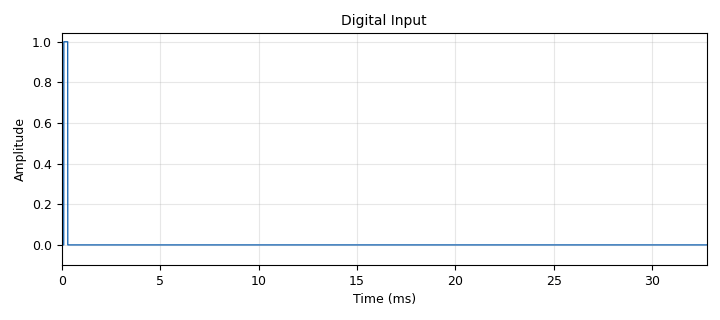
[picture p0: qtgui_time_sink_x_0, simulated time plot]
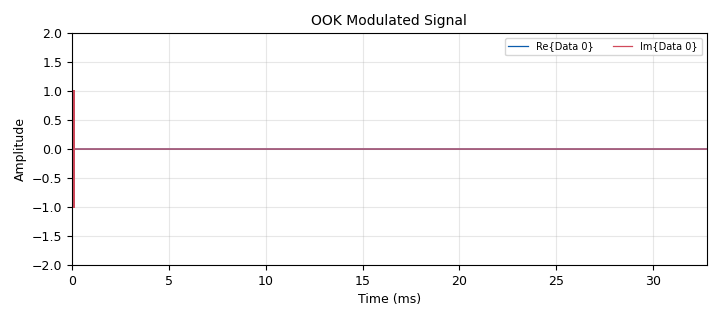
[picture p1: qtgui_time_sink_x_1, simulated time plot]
<?xml version='1.0' encoding='utf-8'?>
<?grc format='1' created='3.7.11'?>
<flow_graph>
<block>
<key>options</key>
<param><key>id</key><value>top_block</value></param>
<param><key>category</key><value>Custom</value></param>
<param><key>generate_options</key><value>qt_gui</value></param>
</block>
<block>
<key>variable</key>
<param><key>id</key><value>center_freq</value></param>
<param><key>value</key><value>913e6</value></param>
</block>
<block>
<key>variable_qtgui_entry</key>
<param><key>id</key><value>freq</value></param>
<param><key>value</key><value>912.5e6</value></param>
<param><key>type</key><value>real</value></param>
</block>
<block>
<key>variable</key>
<param><key>id</key><value>freq_corr</value></param>
<param><key>value</key><value>-2.43e6</value></param>
</block>
<block>
<key>variable</key>
<param><key>id</key><value>freq_corr_ppm</value></param>
<param><key>value</key><value>(0/912.5e6)*1e6</value></param>
</block>
<block>
<key>variable</key>
<param><key>id</key><value>gain</value></param>
<param><key>value</key><value>1e-0</value></param>
</block>
<block>
<key>variable</key>
<param><key>id</key><value>input_addr</value></param>
<param><key>value</key><value>"tcp://127.0.0.1:5555"</value></param>
</block>
<block>
<key>variable</key>
<param><key>id</key><value>samp_rate</value></param>
<param><key>value</key><value>2e6</value></param>
</block>
<block>
<key>variable</key>
<param><key>id</key><value>sps</value></param>
<param><key>value</key><value>int(samp_rate/symbol_rate)</value></param>
</block>
<block>
<key>variable</key>
<param><key>id</key><value>symbol_rate</value></param>
<param><key>value</key><value>1/symbol_time</value></param>
</block>
<block>
<key>variable</key>
<param><key>id</key><value>symbol_time</value></param>
<param><key>value</key><value>100e-6</value></param>
</block>
<block>
<key>variable</key>
<param><key>id</key><value>tcp_addr_test</value></param>
<param><key>value</key><value>"tcp://127.0.0.1:5557"</value></param>
</block>
<block>
<key>variable</key>
<param><key>id</key><value>tcp_addr_test</value></param>
<param><key>_enabled</key><value>0</value></param>
<param><key>value</key><value>"tcp://127.0.0.1:5561"</value></param>
</block>
<block>
<key>analog_const_source_x</key>
<param><key>id</key><value>analog_const_source_x_0</value></param>
<param><key>const</key><value>0</value></param>
<param><key>type</key><value>float</value></param>
</block>
<block>
<key>analog_sig_source_x</key>
<param><key>id</key><value>analog_sig_source_x_0</value></param>
<param><key>amp</key><value>gain</value></param>
<param><key>freq</key><value>freq-center_freq</value></param>
<param><key>offset</key><value>0</value></param>
<param><key>type</key><value>complex</value></param>
<param><key>samp_rate</key><value>samp_rate</value></param>
<param><key>waveform</key><value>analog.GR_COS_WAVE</value></param>
</block>
<block>
<key>blocks_float_to_complex</key>
<param><key>id</key><value>blocks_float_to_complex_0</value></param>
</block>
<block>
<key>blocks_multiply_xx</key>
<param><key>id</key><value>blocks_multiply_xx_0</value></param>
<param><key>type</key><value>complex</value></param>
</block>
<block>
<key>blocks_packed_to_unpacked_xx</key>
<param><key>id</key><value>blocks_packed_to_unpacked_xx_0</value></param>
<param><key>bits_per_chunk</key><value>1</value></param>
<param><key>endianness</key><value>gr.GR_MSB_FIRST</value></param>
<param><key>type</key><value>byte</value></param>
</block>
<block>
<key>blocks_pdu_to_tagged_stream</key>
<param><key>id</key><value>blocks_pdu_to_tagged_stream_1</value></param>
<param><key>_enabled</key><value>0</value></param>
<param><key>type</key><value>byte</value></param>
<param><key>tag</key><value>len_key</value></param>
</block>
<block>
<key>blocks_repeat</key>
<param><key>id</key><value>blocks_repeat_0</value></param>
<param><key>interp</key><value>sps</value></param>
<param><key>type</key><value>float</value></param>
</block>
<block>
<key>blocks_throttle</key>
<param><key>id</key><value>blocks_throttle_0</value></param>
<param><key>samples_per_second</key><value>samp_rate</value></param>
<param><key>type</key><value>complex</value></param>
</block>
<block>
<key>blocks_uchar_to_float</key>
<param><key>id</key><value>blocks_uchar_to_float_0</value></param>
</block>
<block>
<key>blocks_vector_source_x</key>
<param><key>id</key><value>blocks_vector_source_x_0</value></param>
<param><key>type</key><value>byte</value></param>
<param><key>repeat</key><value>True</value></param>
<param><key>vector</key><value>(0,0,85,85,0,14,0,14,255,254,253,252,251,250,0,1,2,3,4,5,6,0,0,0,0,0,0,0,0,0,0,0,0,0,0,0,0,0,0,0,0,0,0,0,0,0,0,0,0,0,0,0,0,0,0,0,0,0,0,0,0,0,0,0,0,0,0,0,0,0,0,0,0,0,0,0,0,0,0,0,0,0,0,0,0,0,0,0,0,0,0,0)</value></param>
</block>
<block>
<key>osmosdr_sink</key>
<param><key>id</key><value>osmosdr_sink_0</value></param>
<param><key>bb_gain0</key><value>20</value></param>
<param><key>corr0</key><value>freq_corr_ppm</value></param>
<param><key>freq0</key><value>center_freq</value></param>
<param><key>if_gain0</key><value>32</value></param>
<param><key>gain0</key><value>14</value></param>
<param><key>args</key><value></value></param>
<param><key>type</key><value>fc32</value></param>
<param><key>sample_rate</key><value>samp_rate</value></param>
<param><key>sync</key><value></value></param>
</block>
<block>
<key>qtgui_time_sink_x</key>
<param><key>id</key><value>qtgui_time_sink_x_0</value></param>
<param><key>color1</key><value>"blue"</value></param>
<param><key>label1</key><value></value></param>
<param><key>name</key><value>"Digital Input"</value></param>
<param><key>size</key><value>16384*4</value></param>
<param><key>srate</key><value>samp_rate</value></param>
<param><key>tr_delay</key><value>100e-6</value></param>
<param><key>tr_level</key><value>0.5</value></param>
<param><key>tr_mode</key><value>qtgui.TRIG_MODE_AUTO</value></param>
<param><key>type</key><value>float</value></param>
<param><key>ymin</key><value>-0.1</value></param>
</block>
<block>
<key>qtgui_time_sink_x</key>
<param><key>id</key><value>qtgui_time_sink_x_1</value></param>
<param><key>color1</key><value>"blue"</value></param>
<param><key>label1</key><value></value></param>
<param><key>color2</key><value>"red"</value></param>
<param><key>label2</key><value></value></param>
<param><key>name</key><value>"OOK Modulated Signal"</value></param>
<param><key>size</key><value>16384*4</value></param>
<param><key>srate</key><value>samp_rate</value></param>
<param><key>tr_delay</key><value>0.1e-3</value></param>
<param><key>tr_level</key><value>0.2</value></param>
<param><key>tr_mode</key><value>qtgui.TRIG_MODE_AUTO</value></param>
<param><key>type</key><value>complex</value></param>
<param><key>ymax</key><value>2</value></param>
<param><key>ymin</key><value>-2</value></param>
</block>
<block>
<key>uhd_usrp_sink</key>
<param><key>id</key><value>uhd_usrp_sink_0</value></param>
<param><key>ant0</key><value>TX/RX</value></param>
<param><key>center_freq0</key><value>center_freq</value></param>
<param><key>norm_gain0</key><value>False</value></param>
<param><key>gain0</key><value>30</value></param>
<param><key>clock_rate</key><value>0.0</value></param>
<param><key>dev_args</key><value>""</value></param>
<param><key>_enabled</key><value>0</value></param>
<param><key>type</key><value>fc32</value></param>
<param><key>samp_rate</key><value>samp_rate</value></param>
<param><key>hide_cmd_port</key><value>False</value></param>
<param><key>hide_lo_controls</key><value>True</value></param>
<param><key>sync</key><value></value></param>
<param><key>len_tag_name</key><value></value></param>
</block>
<block>
<key>zeromq_pull_msg_source</key>
<param><key>id</key><value>zeromq_pull_msg_source_0</value></param>
<param><key>address</key><value>input_addr</value></param>
<param><key>_enabled</key><value>0</value></param>
<param><key>timeout</key><value>100</value></param>
</block>
<block>
<key>zeromq_push_sink</key>
<param><key>id</key><value>zeromq_push_sink_0</value></param>
<param><key>address</key><value>tcp_addr_test</value></param>
<param><key>_enabled</key><value>0</value></param>
<param><key>type</key><value>complex</value></param>
<param><key>timeout</key><value>100</value></param>
</block>
<connection><source_block_id>analog_const_source_x_0</source_block_id><sink_block_id>blocks_float_to_complex_0</sink_block_id><source_key>0</source_key><sink_key>1</sink_key></connection>
<connection><source_block_id>analog_sig_source_x_0</source_block_id><sink_block_id>blocks_throttle_0</sink_block_id><source_key>0</source_key><sink_key>0</sink_key></connection>
<connection><source_block_id>blocks_float_to_complex_0</source_block_id><sink_block_id>blocks_multiply_xx_0</sink_block_id><source_key>0</source_key><sink_key>0</sink_key></connection>
<connection><source_block_id>blocks_multiply_xx_0</source_block_id><sink_block_id>osmosdr_sink_0</sink_block_id><source_key>0</source_key><sink_key>0</sink_key></connection>
<connection><source_block_id>blocks_multiply_xx_0</source_block_id><sink_block_id>qtgui_time_sink_x_1</sink_block_id><source_key>0</source_key><sink_key>0</sink_key></connection>
<connection><source_block_id>blocks_multiply_xx_0</source_block_id><sink_block_id>uhd_usrp_sink_0</sink_block_id><source_key>0</source_key><sink_key>0</sink_key></connection>
<connection><source_block_id>blocks_multiply_xx_0</source_block_id><sink_block_id>zeromq_push_sink_0</sink_block_id><source_key>0</source_key><sink_key>0</sink_key></connection>
<connection><source_block_id>blocks_packed_to_unpacked_xx_0</source_block_id><sink_block_id>blocks_uchar_to_float_0</sink_block_id><source_key>0</source_key><sink_key>0</sink_key></connection>
<connection><source_block_id>blocks_pdu_to_tagged_stream_1</source_block_id><sink_block_id>blocks_packed_to_unpacked_xx_0</sink_block_id><source_key>0</source_key><sink_key>0</sink_key></connection>
<connection><source_block_id>blocks_repeat_0</source_block_id><sink_block_id>blocks_float_to_complex_0</sink_block_id><source_key>0</source_key><sink_key>0</sink_key></connection>
<connection><source_block_id>blocks_repeat_0</source_block_id><sink_block_id>qtgui_time_sink_x_0</sink_block_id><source_key>0</source_key><sink_key>0</sink_key></connection>
<connection><source_block_id>blocks_throttle_0</source_block_id><sink_block_id>blocks_multiply_xx_0</sink_block_id><source_key>0</source_key><sink_key>1</sink_key></connection>
<connection><source_block_id>blocks_uchar_to_float_0</source_block_id><sink_block_id>blocks_repeat_0</sink_block_id><source_key>0</source_key><sink_key>0</sink_key></connection>
<connection><source_block_id>blocks_vector_source_x_0</source_block_id><sink_block_id>blocks_packed_to_unpacked_xx_0</sink_block_id><source_key>0</source_key><sink_key>0</sink_key></connection>
<connection><source_block_id>zeromq_pull_msg_source_0</source_block_id><sink_block_id>blocks_pdu_to_tagged_stream_1</sink_block_id><source_key>out</source_key><sink_key>pdus</sink_key></connection>
</flow_graph>
